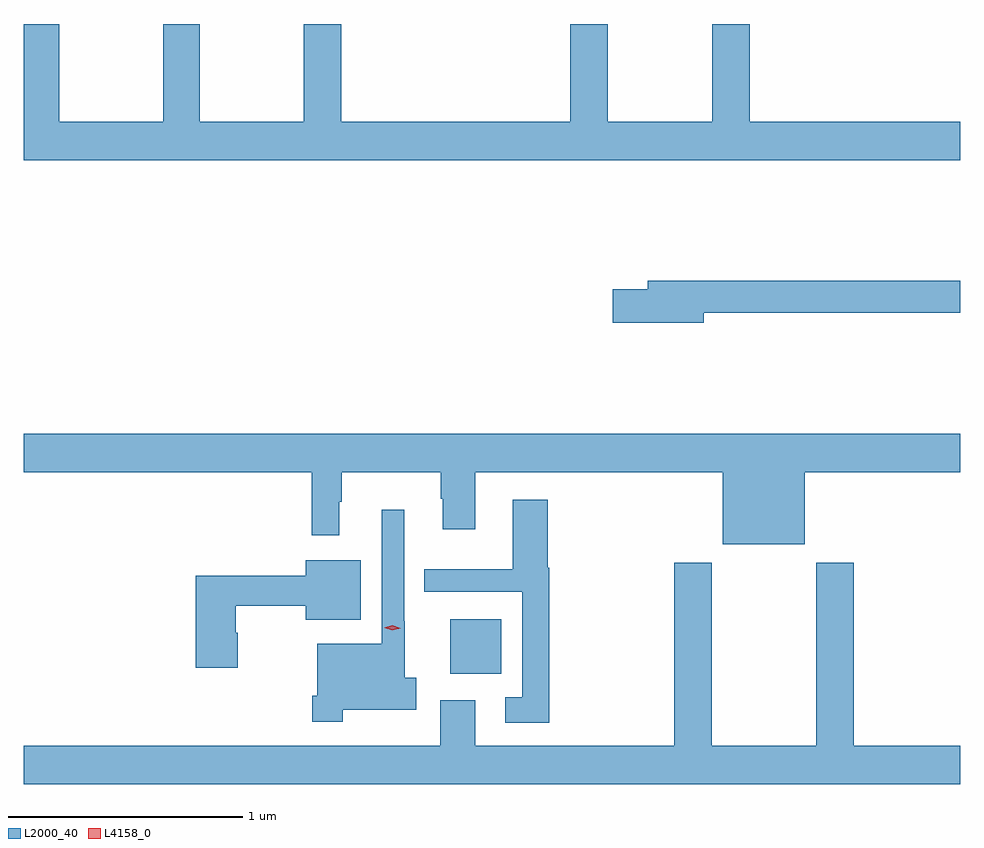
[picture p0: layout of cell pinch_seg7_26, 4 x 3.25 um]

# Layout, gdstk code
import gdstk
lib = gdstk.Library(unit=1e-6, precision=1e-09)
def R(c, l, rs):  # rectangles x0, y0, x1, y1
    for r in rs: c.add(gdstk.rectangle(r[:2], r[2:], *l))
def P(c, l, *ps):  # polygons
    for p in ps: c.add(gdstk.Polygon(p, *l))
L2000_40 = (2000, 40)
L4158_0 = (4158, 0)

pinch_seg7_26 = lib.new_cell('pinch_seg7_26')
R(pinch_seg7_26, L2000_40, [(1073.732,1045.043,1073.95,1045.276)])
P(pinch_seg7_26, L2000_40, [(1075.91,1047.4),(1075.01,1047.4),(1075.01,1047.817),(1074.85,1047.817),(1074.85,1047.4),(1074.405,1047.4),(1074.405,1047.817),(1074.245,1047.817),(1074.245,1047.4),(1073.267,1047.4),(1073.267,1047.817),(1073.107,1047.817),(1073.107,1047.4),(1072.662,1047.4),(1072.662,1047.817),(1072.507,1047.817),(1072.507,1047.4),(1072.062,1047.4),(1072.062,1047.817),(1071.91,1047.817),(1071.91,1047.236),(1075.91,1047.236)],
  [(1074.814,1046.584),(1075.91,1046.584),(1075.91,1046.72),(1074.575,1046.72),(1074.575,1046.684),(1074.426,1046.684),(1074.426,1046.542),(1074.814,1046.542)],
  [(1075.246,1045.904),(1075.91,1045.904),(1075.91,1046.068),(1071.91,1046.068),(1071.91,1045.904),(1073.14,1045.904),(1073.14,1045.635),(1073.258,1045.635),(1073.258,1045.778),(1073.269,1045.778),(1073.269,1045.904),(1073.692,1045.904),(1073.692,1045.79),(1073.699,1045.79),(1073.699,1045.659),(1073.839,1045.659),(1073.839,1045.904),(1074.896,1045.904),(1074.896,1045.595),(1075.246,1045.595)],
  [(1074.155,1045.495),(1074.149,1045.495),(1074.149,1045.786),(1073.999,1045.786),(1073.999,1045.489),(1073.62,1045.489),(1073.62,1045.392),(1074.039,1045.392),(1074.039,1044.943),(1073.967,1044.943),(1073.967,1044.834),(1074.155,1044.834)],
  [(1073.272,1044.89),(1073.587,1044.89),(1073.587,1045.025),(1073.537,1045.025),(1073.537,1045.267),(1073.535,1045.267),(1073.535,1045.744),(1073.439,1045.744),(1073.439,1045.171),(1073.163,1045.171),(1073.163,1044.949),(1073.143,1044.949),(1073.143,1044.837),(1073.272,1044.837)],
  [(1072.824,1045.218),(1072.816,1045.218),(1072.816,1045.333),(1073.114,1045.333),(1073.114,1045.274),(1073.35,1045.274),(1073.35,1045.528),(1073.114,1045.528),(1073.114,1045.462),(1072.646,1045.462),(1072.646,1045.068),(1072.824,1045.068)],
  [(1075.91,1044.736),(1075.454,1044.736),(1075.454,1045.516),(1075.294,1045.516),(1075.294,1044.736),(1074.849,1044.736),(1074.849,1045.516),(1074.689,1045.516),(1074.689,1044.736),(1073.839,1044.736),(1073.839,1044.93),(1073.69,1044.93),(1073.69,1044.736),(1071.91,1044.736),(1071.91,1044.572),(1075.91,1044.572)])
P(pinch_seg7_26, L4158_0, [(1073.484,1045.229),(1073.449,1045.24),(1073.449,1045.24),(1073.449,1045.24),(1073.485,1045.249),(1073.52,1045.238),(1073.52,1045.237),(1073.52,1045.237)])

lib.write_gds('pinch_seg7_26.gds')
